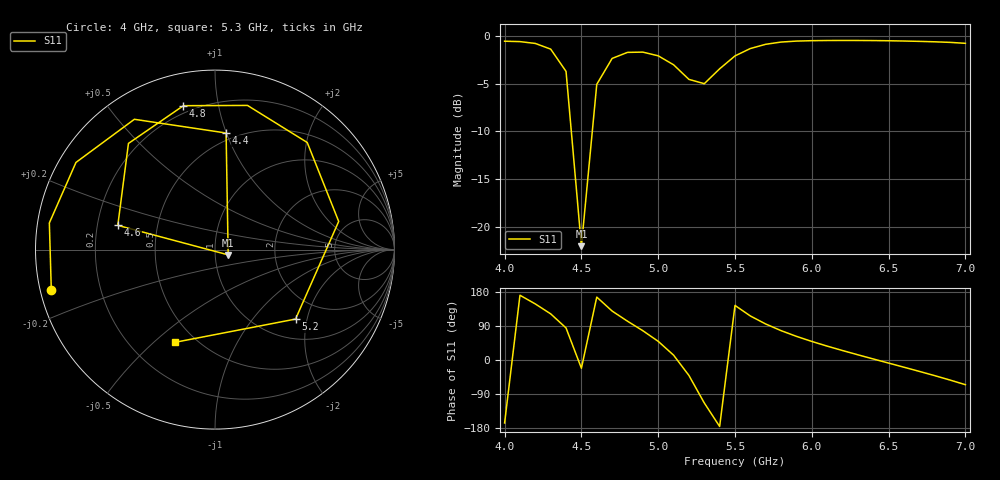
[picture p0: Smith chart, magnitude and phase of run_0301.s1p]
! Touchstone file exported from HFSS 2024.2.0
!  File:  C:/Users/wsak9/Desktop/Sim Fast/Widenad Patch/WP_AI_V1_sweep.aedt
!  Generated:  03:41:35 AM Oct 14, 2026
!  Design:  A1_model
!  Project:  WP_AI_V1_sweep
!  Setup:  Setup1
!  Solution:  Sweep
! Variables:
!  Air_gap = 4.69mm
!  Curve_Amp1 = 3.98
!  Curve_len1 = 1
!  Curve_pos = 12.69mm
!  Extra = 1.79mm
!  H_sub = 0.79mm
!  L_Patch = 21.38mm
!  L_Patch1 = 12.24mm
!  Sx = 4.48mm
!  Sy = 1.19mm
!  WS = 0.95mm
!  W_Patch = 16.19mm
!  W_Patch1 = 10.45mm
!Data is not renormalized
# GHz S MA
! Terminal data exported
! Port[1] = 1
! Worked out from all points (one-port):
!   31 points, 4 GHz to 7 GHz, reference per port
!   lowest |S11| = -22.0 dB at 4.5 GHz (marker M1), VSWR 1.17
!   |S11| at or under -10 dB: 4.434 GHz to 4.571 GHz (136.6 MHz wide, 3.03 % of centre)
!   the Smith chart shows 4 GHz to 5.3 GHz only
!   S11 on the Smith chart (normalised r, x): 4 GHz: 0.03, -0.12; 4.4 GHz: 0.44, +1.00; 4.6 GHz: 0.29, +0.11; 4.8 GHz: 0.16, +0.79; 5.2 GHz: 1.43, -1.71; 5.3 GHz: 0.39, -0.59
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4  0.9392 -166.2
4.1  0.9348 170.9
4.2  0.9143 147.9
4.3  0.8537 121.7
4.4  0.6525 84.6
4.5  0.07921 -21.8
4.6  0.5581 166.0
4.7  0.7632 129.2
4.8  0.8209 102.4
4.9  0.8234 77.3
5  0.7875 49.3
5.1  0.7069 12.8
5.2  0.5926 -40.8
5.3  0.5627 -113.3
5.4  0.6733 -175.4
5.5  0.7866 144.0
5.6  0.86 116.2
5.7  0.905 95.0
5.8  0.9297 77.5
5.9  0.9407 62.4
6  0.9453 49.0
6.1  0.9472 36.6
6.2  0.9478 25.0
6.3  0.9476 13.7
6.5  0.9445 -8.1
6.7  0.9375 -30.0
6.8  0.9326 -41.3
7  0.9157 -65.2
